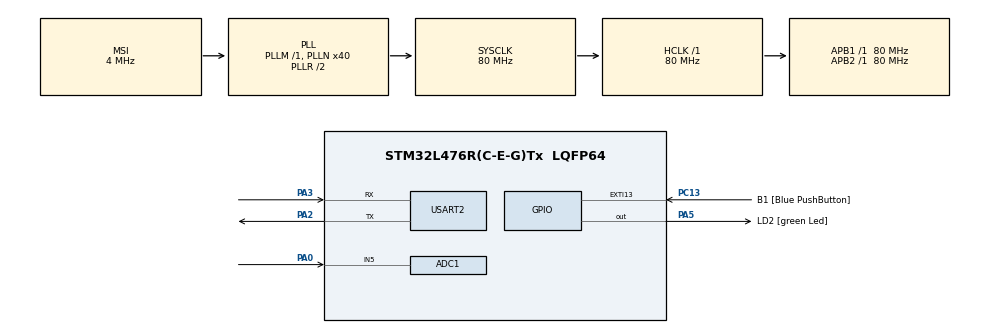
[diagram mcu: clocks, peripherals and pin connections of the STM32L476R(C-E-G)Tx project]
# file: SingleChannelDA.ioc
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ADC1.Channel-1\#ChannelRegularConversion=ADC_CHANNEL_5
ADC1.ContinuousConvMode=ENABLE
ADC1.DMAContinuousRequests=ENABLE
ADC1.ExternalTrigConv=ADC_SOFTWARE_START
ADC1.NbrOfConversionFlag=1
ADC1.OffsetNumber-1\#ChannelRegularConversion=ADC_OFFSET_NONE
ADC1.Rank-1\#ChannelRegularConversion=1
ADC1.SamplingTime-1\#ChannelRegularConversion=ADC_SAMPLETIME_2CYCLES_5
ADC1.master=1
Dma.ADC1.0.Direction=DMA_PERIPH_TO_MEMORY
Dma.ADC1.0.Instance=DMA1_Channel1
Dma.ADC1.0.MemDataAlignment=DMA_MDATAALIGN_WORD
Dma.ADC1.0.MemInc=DMA_MINC_ENABLE
Dma.ADC1.0.Mode=DMA_CIRCULAR
Dma.ADC1.0.PeriphDataAlignment=DMA_PDATAALIGN_WORD
Dma.ADC1.0.PeriphInc=DMA_PINC_DISABLE
Dma.ADC1.0.Priority=DMA_PRIORITY_LOW
Dma.Request0=ADC1
Dma.Request1=USART2_TX
Dma.USART2_TX.1.Direction=DMA_MEMORY_TO_PERIPH
Dma.USART2_TX.1.Instance=DMA1_Channel7
Dma.USART2_TX.1.MemDataAlignment=DMA_MDATAALIGN_BYTE
Dma.USART2_TX.1.MemInc=DMA_MINC_ENABLE
Dma.USART2_TX.1.Mode=DMA_NORMAL
Dma.USART2_TX.1.PeriphDataAlignment=DMA_PDATAALIGN_BYTE
Dma.USART2_TX.1.PeriphInc=DMA_PINC_DISABLE
Dma.USART2_TX.1.Priority=DMA_PRIORITY_LOW
Mcu.Family=STM32L4
Mcu.Name=STM32L476R(C-E-G)Tx
Mcu.Package=LQFP64
NVIC.DMA1_Channel1_IRQn=true\:0\:0\:false\:false\:true\:false\:true
NVIC.DMA1_Channel7_IRQn=true\:0\:0\:false\:false\:true\:false\:true
NVIC.PriorityGroup=NVIC_PRIORITYGROUP_4
NVIC.USART2_IRQn=true\:0\:0\:false\:false\:true\:true\:true
PA0.Signal=ADCx_IN5
PA13\ (JTMS-SWDIO).GPIO_Label=TMS
PA13\ (JTMS-SWDIO).Mode=Serial_Wire
PA13\ (JTMS-SWDIO).Signal=SYS_JTMS-SWDIO
PA14\ (JTCK-SWCLK).GPIO_Label=TCK
PA14\ (JTCK-SWCLK).Mode=Serial_Wire
PA14\ (JTCK-SWCLK).Signal=SYS_JTCK-SWCLK
PA2.Mode=Asynchronous
PA2.Signal=USART2_TX
PA3.Mode=Asynchronous
PA3.Signal=USART2_RX
PA5.GPIO_Label=LD2 [green Led]
PA5.GPIO_ModeDefaultOutputPP=GPIO_MODE_OUTPUT_PP
PA5.GPIO_PuPd=GPIO_NOPULL
PA5.GPIO_Speed=GPIO_SPEED_FREQ_LOW
PA5.Signal=GPIO_Output
PB3\ (JTDO-TRACESWO).GPIO_Label=SWO
PB3\ (JTDO-TRACESWO).Signal=SYS_JTDO-SWO
PC13.GPIO_Label=B1 [Blue PushButton]
PC13.GPIO_ModeDefaultEXTI=GPIO_MODE_IT_FALLING
PC13.GPIO_PuPd=GPIO_NOPULL
PC13.Signal=GPXTI13
PC14-OSC32_IN\ (PC14).Mode=LSE-External-Oscillator
PC14-OSC32_IN\ (PC14).Signal=RCC_OSC32_IN
PC15-OSC32_OUT\ (PC15).Mode=LSE-External-Oscillator
PC15-OSC32_OUT\ (PC15).Signal=RCC_OSC32_OUT
PH0-OSC_IN\ (PH0).Mode=HSE-External-Oscillator
PH0-OSC_IN\ (PH0).Signal=RCC_OSC_IN
PH1-OSC_OUT\ (PH1).Mode=HSE-External-Oscillator
PH1-OSC_OUT\ (PH1).Signal=RCC_OSC_OUT
ProjectManager.HeapSize=0x200
ProjectManager.StackSize=0x400
ProjectManager.TargetToolchain=STM32CubeIDE
RCC.ADCFreq_Value=80000000
RCC.AHBFreq_Value=80000000
RCC.APB1Freq_Value=80000000
RCC.APB1TimFreq_Value=80000000
RCC.APB2Freq_Value=80000000
RCC.APB2TimFreq_Value=80000000
RCC.CK48CLockSelection=RCC_USBCLKSOURCE_PLL
RCC.CortexFreq_Value=80000000
RCC.HCLKFreq_Value=80000000
RCC.HSE_VALUE=4000000
RCC.HSI_VALUE=16000000
RCC.MSI_VALUE=4000000
RCC.PLLN=40
RCC.PLLSAI1N=40
RCC.PLLSAI1Q=RCC_PLLQ_DIV4
RCC.PREFETCH_ENABLE=1
RCC.SYSCLKFreq_VALUE=80000000
RCC.SYSCLKSource=RCC_SYSCLKSOURCE_PLLCLK
RCC.USBFreq_Value=80000000
RCC.VCOOutputFreq_Value=160000000
SH.ADCx_IN5.0=ADC1_IN5,IN5-Single-Ended
USART2.VirtualMode-Asynchronous=VM_ASYNC
board=NUCLEO-L476RG

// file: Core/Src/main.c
/* USER CODE BEGIN Header */
/**
 ******************************************************************************
 * @file           : main.c
 * @brief          : Main program body
 ******************************************************************************
 * @attention
 *
 * Copyright (c) 2023 STMicroelectronics.
 * All rights reserved.
 *
 * This software is licensed under terms that can be found in the LICENSE file
 * in the root directory of this software component.
 * If no LICENSE file comes with this software, it is provided AS-IS.
 *
 ******************************************************************************
 */
/* USER CODE END Header */
#include "main.h"

/* USER CODE BEGIN PD */

#define ADC_BUF_LEN 4096

#define ARM_MATH_CM4
#include "arm_math.h"

/* USER CODE END PD */

ADC_HandleTypeDef hadc1;
DMA_HandleTypeDef hdma_adc1;

UART_HandleTypeDef huart2;
DMA_HandleTypeDef hdma_usart2_tx;

/* USER CODE BEGIN PV */
volatile uint32_t adc_buf[ADC_BUF_LEN];
uint8_t Rx[1];
int frequency = 0;
uint8_t outarray[1024];

#define FFT_BUFFER_SIZE 2048

arm_rfft_fast_instance_f32 fftHandler;

float fftBufIn[FFT_BUFFER_SIZE];
float fftBufOut[FFT_BUFFER_SIZE];

/* USER CODE END PV */

void SystemClock_Config(void);
static void MX_GPIO_Init(void);
static void MX_DMA_Init(void);
static void MX_ADC1_Init(void);
static void MX_USART2_UART_Init(void);

/* USER CODE BEGIN 0 */

uint8_t callback_state = 0;

uint8_t uartfree = 1;
/* USER CODE END 0 */

int main(void)
{

	/* MCU Configuration--------------------------------------------------------*/

	/* Reset of all peripherals, Initializes the Flash interface and the Systick. */
	HAL_Init();

	/* Configure the system clock */
	SystemClock_Config();

	/* Initialize all configured peripherals */
	MX_GPIO_Init();
	MX_DMA_Init();
	MX_ADC1_Init();
	MX_USART2_UART_Init();
	/* USER CODE BEGIN 2 */
	//HAL_UART_Receive(&huart2, Rx, sizeof(Rx), HAL_MAX_DELAY);

	arm_rfft_fast_init_f32(&fftHandler, 2048);
	HAL_ADC_Start_DMA(&hadc1, (uint32_t*)adc_buf, ADC_BUF_LEN);

	/* USER CODE END 2 */

	/* Infinite loop */
	while (1)
	{

		/* USER CODE BEGIN 3 */

		int fft_in_ptr = 0;

		if(callback_state == 1){
			for(int i =0; i<2048; i++){

				fftBufIn[fft_in_ptr] = (float32_t) adc_buf[i];
				fft_in_ptr++;
			}

			DoFFT();
		}

		if(callback_state == 2){
			for(int i =2048; i<4096; i++){

				fftBufIn[fft_in_ptr] = (float32_t) adc_buf[i];
				fft_in_ptr++;
			}

			DoFFT();
		}
	}
	/* USER CODE END WHILE */

	/* USER CODE BEGIN 3 */

	/* USER CODE END 3 */
}

float complexABS(float real, float compl) {
	return sqrtf(real*real + compl*compl);
}

void DoFFT() {

	arm_rfft_fast_f32(&fftHandler, &fftBufIn, &fftBufOut, 0);

	int freqs[1024];
	int freqpoint = 0;
	int offset = 0;
	int j = 0;

	for (int i = 0; i < 2048; i = i+2) {
		freqs[freqpoint] = (int)(20*log10f(complexABS(fftBufOut[i], fftBufOut[i+1]))) - offset;
		if(freqs[freqpoint] < 0) freqs[freqpoint] = 0;

		freqs[0] = 0;
		freqs[1] = 0;

		outarray[j] = (uint8_t)freqs[freqpoint];
		freqpoint++;
		j++;
	}

	int max,temp = 0;

	for(int k = 0; k < 1024; k++){

		if(outarray[k] > outarray[temp]){

			temp = k;
		}
	}

	max = outarray[temp];

	frequency = (temp * 2666666) / 1024;

	char temp_buf[200];

	if (uartfree == 1){

		snprintf(temp_buf, sizeof(temp_buf), "%d\r\n", frequency);
		HAL_UART_Transmit(&huart2, (uint8_t*)temp_buf, strlen(temp_buf), HAL_MAX_DELAY);

	}

	//uartfree = 0
	callback_state = 0;
}
void SystemClock_Config(void)
{
	RCC_OscInitTypeDef RCC_OscInitStruct = {0};
	RCC_ClkInitTypeDef RCC_ClkInitStruct = {0};

	/** Configure the main internal regulator output voltage
	 */
	if (HAL_PWREx_ControlVoltageScaling(PWR_REGULATOR_VOLTAGE_SCALE1) != HAL_OK)
	{
		Error_Handler();
	}
	/** Configure LSE Drive Capability
	 */
	HAL_PWR_EnableBkUpAccess();
	__HAL_RCC_LSEDRIVE_CONFIG(RCC_LSEDRIVE_LOW);
	/** Initializes the RCC Oscillators according to the specified parameters
	 * in the RCC_OscInitTypeDef structure.
	 */
	RCC_OscInitStruct.OscillatorType = RCC_OSCILLATORTYPE_LSE|RCC_OSCILLATORTYPE_MSI;
	RCC_OscInitStruct.LSEState = RCC_LSE_ON;
	RCC_OscInitStruct.MSIState = RCC_MSI_ON;
	RCC_OscInitStruct.MSICalibrationValue = 0;
	RCC_OscInitStruct.MSIClockRange = RCC_MSIRANGE_6;
	RCC_OscInitStruct.PLL.PLLState = RCC_PLL_ON;
	RCC_OscInitStruct.PLL.PLLSource = RCC_PLLSOURCE_MSI;
	RCC_OscInitStruct.PLL.PLLM = 1;
	RCC_OscInitStruct.PLL.PLLN = 40;
	RCC_OscInitStruct.PLL.PLLP = RCC_PLLP_DIV7;
	RCC_OscInitStruct.PLL.PLLQ = RCC_PLLQ_DIV2;
	RCC_OscInitStruct.PLL.PLLR = RCC_PLLR_DIV2;
	if (HAL_RCC_OscConfig(&RCC_OscInitStruct) != HAL_OK)
	{
		Error_Handler();
	}
	/** Initializes the CPU, AHB and APB buses clocks
	 */
	RCC_ClkInitStruct.ClockType = RCC_CLOCKTYPE_HCLK|RCC_CLOCKTYPE_SYSCLK
			|RCC_CLOCKTYPE_PCLK1|RCC_CLOCKTYPE_PCLK2;
	RCC_ClkInitStruct.SYSCLKSource = RCC_SYSCLKSOURCE_PLLCLK;
	RCC_ClkInitStruct.AHBCLKDivider = RCC_SYSCLK_DIV1;
	RCC_ClkInitStruct.APB1CLKDivider = RCC_HCLK_DIV1;
	RCC_ClkInitStruct.APB2CLKDivider = RCC_HCLK_DIV1;

	if (HAL_RCC_ClockConfig(&RCC_ClkInitStruct, FLASH_LATENCY_4) != HAL_OK)
	{
		Error_Handler();
	}
	/** Enable MSI Auto calibration
	 */
	HAL_RCCEx_EnableMSIPLLMode();
}

static void MX_ADC1_Init(void)
{

	ADC_MultiModeTypeDef multimode = {0};
	ADC_ChannelConfTypeDef sConfig = {0};

	/** Common config
	 */
	hadc1.Instance = ADC1;
	hadc1.Init.ClockPrescaler = ADC_CLOCK_ASYNC_DIV1;
	hadc1.Init.Resolution = ADC_RESOLUTION_12B;
	hadc1.Init.DataAlign = ADC_DATAALIGN_RIGHT;
	hadc1.Init.ScanConvMode = ADC_SCAN_DISABLE;
	hadc1.Init.EOCSelection = ADC_EOC_SINGLE_CONV;
	hadc1.Init.LowPowerAutoWait = DISABLE;
	hadc1.Init.ContinuousConvMode = ENABLE;
	hadc1.Init.NbrOfConversion = 1;
	hadc1.Init.DiscontinuousConvMode = DISABLE;
	hadc1.Init.ExternalTrigConv = ADC_SOFTWARE_START;
	hadc1.Init.ExternalTrigConvEdge = ADC_EXTERNALTRIGCONVEDGE_NONE;
	hadc1.Init.DMAContinuousRequests = ENABLE;
	hadc1.Init.Overrun = ADC_OVR_DATA_PRESERVED;
	hadc1.Init.OversamplingMode = DISABLE;
	if (HAL_ADC_Init(&hadc1) != HAL_OK)
	{
		Error_Handler();
	}
	/** Configure the ADC multi-mode
	 */
	multimode.Mode = ADC_MODE_INDEPENDENT;
	if (HAL_ADCEx_MultiModeConfigChannel(&hadc1, &multimode) != HAL_OK)
	{
		Error_Handler();
	}
	/** Configure Regular Channel
	 */
	sConfig.Channel = ADC_CHANNEL_5;
	sConfig.Rank = ADC_REGULAR_RANK_1;
	sConfig.SamplingTime = ADC_SAMPLETIME_2CYCLES_5;
	sConfig.SingleDiff = ADC_SINGLE_ENDED;
	sConfig.OffsetNumber = ADC_OFFSET_NONE;
	sConfig.Offset = 0;
	if (HAL_ADC_ConfigChannel(&hadc1, &sConfig) != HAL_OK)
	{
		Error_Handler();
	}

}

static void MX_USART2_UART_Init(void)
{

	huart2.Instance = USART2;
	huart2.Init.BaudRate = 115200;
	huart2.Init.WordLength = UART_WORDLENGTH_8B;
	huart2.Init.StopBits = UART_STOPBITS_1;
	huart2.Init.Parity = UART_PARITY_NONE;
	huart2.Init.Mode = UART_MODE_TX_RX;
	huart2.Init.HwFlowCtl = UART_HWCONTROL_NONE;
	huart2.Init.OverSampling = UART_OVERSAMPLING_16;
	huart2.Init.OneBitSampling = UART_ONE_BIT_SAMPLE_DISABLE;
	huart2.AdvancedInit.AdvFeatureInit = UART_ADVFEATURE_NO_INIT;
	if (HAL_UART_Init(&huart2) != HAL_OK)
	{
		Error_Handler();
	}

}

static void MX_DMA_Init(void)
{

	/* DMA controller clock enable */
	__HAL_RCC_DMA1_CLK_ENABLE();

	/* DMA interrupt init */
	/* DMA1_Channel1_IRQn interrupt configuration */
	HAL_NVIC_SetPriority(DMA1_Channel1_IRQn, 0, 0);
	HAL_NVIC_EnableIRQ(DMA1_Channel1_IRQn);
	/* DMA1_Channel7_IRQn interrupt configuration */
	HAL_NVIC_SetPriority(DMA1_Channel7_IRQn, 0, 0);
	HAL_NVIC_EnableIRQ(DMA1_Channel7_IRQn);

}

static void MX_GPIO_Init(void)
{
	GPIO_InitTypeDef GPIO_InitStruct = {0};

	/* GPIO Ports Clock Enable */
	__HAL_RCC_GPIOC_CLK_ENABLE();
	__HAL_RCC_GPIOH_CLK_ENABLE();
	__HAL_RCC_GPIOA_CLK_ENABLE();
	__HAL_RCC_GPIOB_CLK_ENABLE();

	/*Configure GPIO pin Output Level */
	HAL_GPIO_WritePin(LD2_GPIO_Port, LD2_Pin, GPIO_PIN_RESET);

	/*Configure GPIO pin : B1_Pin */
	GPIO_InitStruct.Pin = B1_Pin;
	GPIO_InitStruct.Mode = GPIO_MODE_IT_FALLING;
	GPIO_InitStruct.Pull = GPIO_NOPULL;
	HAL_GPIO_Init(B1_GPIO_Port, &GPIO_InitStruct);

	/*Configure GPIO pin : LD2_Pin */
	GPIO_InitStruct.Pin = LD2_Pin;
	GPIO_InitStruct.Mode = GPIO_MODE_OUTPUT_PP;
	GPIO_InitStruct.Pull = GPIO_NOPULL;
	GPIO_InitStruct.Speed = GPIO_SPEED_FREQ_LOW;
	HAL_GPIO_Init(LD2_GPIO_Port, &GPIO_InitStruct);

}

/* USER CODE BEGIN 4 */

void HAL_ADC_ConvHalfCpltCallback(ADC_HandleTypeDef* hadc) {

	callback_state = 1;
//	HAL_ADC_Stop_DMA(&hadc1);
//
//	int fft_in_ptr = 0;
//
//	if(callback_state == 1){
//		for(int i =0; i<2048; i++){
//
//			fftBufIn[fft_in_ptr] = (float32_t) adc_buf[i];
//			fft_in_ptr++;
//		}
//
//		DoFFT();
//	}
//	NVIC_SystemReset();
}

void HAL_ADC_ConvCpltCallback(ADC_HandleTypeDef* hadc) {

	callback_state = 2;
	//HAL_ADC_Stop_DMA(&hadc1);

//	int fft_in_ptr = 0;
//
//
//
//	if(callback_state == 2){
//		for(int i =2048; i<4096; i++){
//
//			fftBufIn[i] = (float32_t) adc_buf[i];
//			fft_in_ptr++;
//		}
//
//		DoFFT();
//	}

}

void HAL_UART_TxHalfCpltCallback(UART_HandleTypeDef* huart)
{
	//HAL_GPIO_WritePin(LD2_GPIO_Port, LD2_Pin, GPIO_PIN_RESET);
	uartfree = 1;
}

/* USER CODE END 4 */

void Error_Handler(void)
{
	__disable_irq();
	while (1)
	{
	}
}
